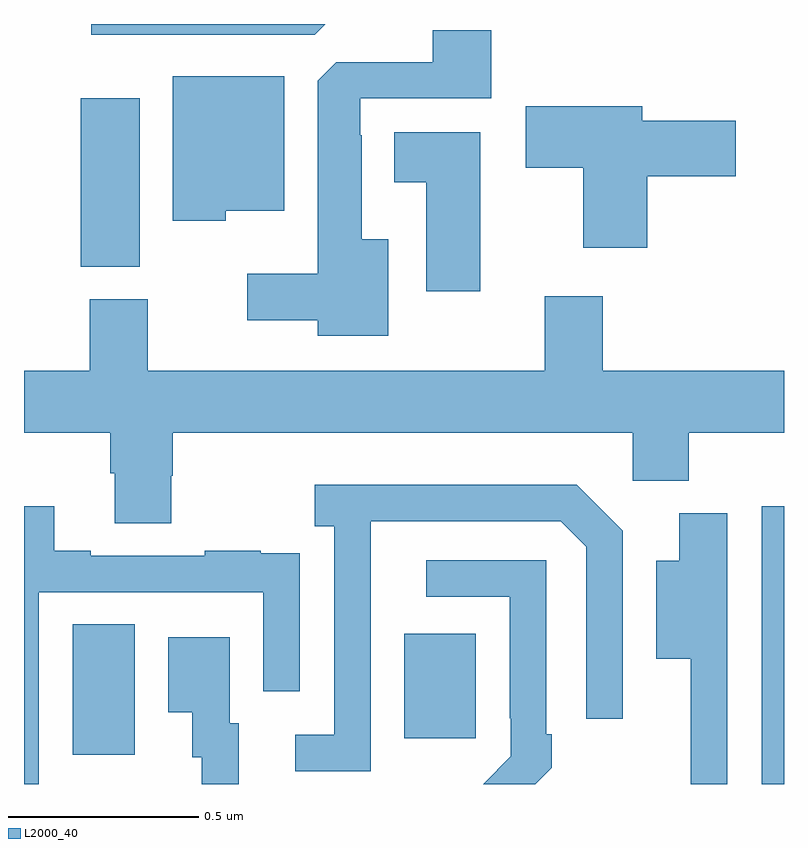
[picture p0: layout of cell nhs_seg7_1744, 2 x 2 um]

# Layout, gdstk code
import gdstk
lib = gdstk.Library(unit=1e-6, precision=1e-09)
def R(c, l, rs):  # rectangles x0, y0, x1, y1
    for r in rs: c.add(gdstk.rectangle(r[:2], r[2:], *l))
def P(c, l, *ps):  # polygons
    for p in ps: c.add(gdstk.Polygon(p, *l))
L2000_40 = (2000, 40)

nhs_seg7_1744 = lib.new_cell('nhs_seg7_1744')
R(nhs_seg7_1744, L2000_40, [(136.941,1025,137,1025.731), (135.128,1025.077,135.292,1025.42), (136.001,1025.121,136.189,1025.395), (135.149,1026.361,135.304,1026.805)])
P(nhs_seg7_1744, L2000_40, [(135.793,1027),(135.177,1027),(135.177,1026.972),(135.765,1026.972)],
  [(135.958,1026.433),(135.889,1026.433),(135.889,1026.707),(135.885,1026.707),(135.885,1026.804),(136.229,1026.804),(136.229,1026.983),(136.076,1026.983),(136.076,1026.9),(135.822,1026.9),(135.773,1026.851),(135.773,1026.343),(135.588,1026.343),(135.588,1026.221),(135.773,1026.221),(135.773,1026.179),(135.958,1026.179)],
  [(135.531,1026.509),(135.685,1026.509),(135.685,1026.862),(135.392,1026.862),(135.392,1026.482),(135.531,1026.482)],
  [(136.64,1026.599),(136.873,1026.599),(136.873,1026.746),(136.627,1026.746),(136.627,1026.784),(136.32,1026.784),(136.32,1026.622),(136.472,1026.622),(136.472,1026.411),(136.64,1026.411)],
  [(136.201,1026.715),(135.974,1026.715),(135.974,1026.584),(136.058,1026.584),(136.058,1026.297),(136.201,1026.297)],
  [(135.227,1025.818),(135.239,1025.818),(135.239,1025.686),(135.387,1025.686),(135.387,1025.811),(135.392,1025.811),(135.392,1025.924),(136.602,1025.924),(136.602,1025.798),(136.749,1025.798),(136.749,1025.924),(137,1025.924),(137,1026.088),(136.523,1026.088),(136.523,1026.283),(136.37,1026.283),(136.37,1026.088),(135.325,1026.088),(135.325,1026.276),(135.173,1026.276),(135.173,1026.088),(135,1026.088),(135,1025.924),(135.227,1025.924)],
  [(135.912,1025.491),(135.913,1025.491),(135.913,1025.691),(136.413,1025.691),(136.479,1025.625),(136.479,1025.172),(136.575,1025.172),(136.575,1025.667),(136.454,1025.788),(135.765,1025.788),(135.765,1025.678),(135.816,1025.678),(135.816,1025.13),(135.714,1025.13),(135.714,1025.034),(135.912,1025.034)],
  [(135.039,1025.505),(135.63,1025.505),(135.63,1025.244),(135.726,1025.244),(135.726,1025.498),(135.725,1025.498),(135.725,1025.607),(135.623,1025.607),(135.623,1025.614),(135.475,1025.614),(135.475,1025.601),(135.175,1025.601),(135.175,1025.614),(135.079,1025.614),(135.079,1025.731),(135,1025.731),(135,1025),(135.039,1025)],
  [(136.851,1025.713),(136.724,1025.713),(136.724,1025.587),(136.664,1025.587),(136.664,1025.33),(136.754,1025.33),(136.754,1025),(136.851,1025)],
  [(136.389,1025.043),(136.389,1025.131),(136.374,1025.131),(136.374,1025.589),(136.059,1025.589),(136.059,1025.493),(136.278,1025.493),(136.278,1025.173),(136.281,1025.173),(136.281,1025.073),(136.208,1025),(136.346,1025)],
  [(135.565,1025.16),(135.541,1025.16),(135.541,1025.386),(135.38,1025.386),(135.38,1025.189),(135.443,1025.189),(135.443,1025.07),(135.468,1025.07),(135.468,1025),(135.565,1025)])

lib.write_gds('nhs_seg7_1744.gds')
